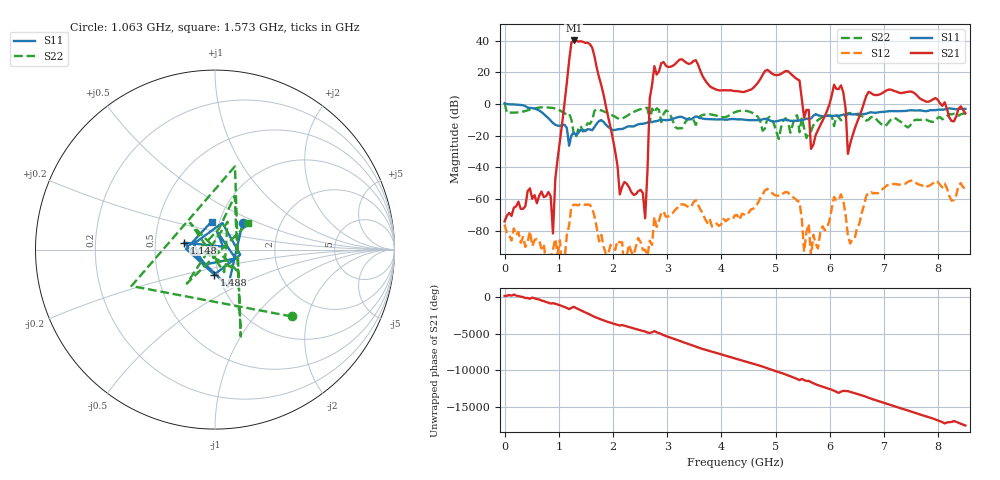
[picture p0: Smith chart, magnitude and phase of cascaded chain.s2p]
#  HZ  S  RI  R  50.00
! Rohde & Schwarz Vector Network Analyzer
! Rohde-Schwarz,ZNB8-4Port,REDACTED,3.12
! Created: UTC 3/23/2026, 9:02:08 PM
! ZX60-P162LN+ -> ZX75BP-1450-S+ -> ZX60-V63+
! freq[Hz]  re:S11  im:S11  re:S21  im:S21  re:S12  im:S12  re:S22  im:S22
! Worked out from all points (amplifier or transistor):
!   201 points, 10 kHz to 8.5 GHz, reference 50 ohm
!   highest |S21| = 40.2 dB at 1.275 GHz (marker M1)
!   |S21| within 3 dB of that: 1.226 GHz to 1.586 GHz (359.9 MHz wide, 25.6 % of centre)
!   unconditionally stable (mu >= 1): 29.18 MHz to end of sweep
!   at 1.403 GHz: K = 6.87, MAG = 40.0 dB, |S12| = -63.0 dB
!   at 4.25 GHz: K = 397.79, MAG = 10.2 dB, |S12| = -70.3 dB
!   at 8.5 GHz: K = 177.33, MAG = -1.7 dB, |S12| = -53.6 dB
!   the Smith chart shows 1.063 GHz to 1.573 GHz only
!   S11 on the Smith chart (normalised r, x): 1.063 GHz: 1.29, +0.40; 1.148 GHz: 0.70, +0.06; 1.488 GHz: 0.95, -0.27; 1.573 GHz: 0.92, +0.29
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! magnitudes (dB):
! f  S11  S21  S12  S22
! 10 kHz  0.5  -74.1  -76.3  0.4
! 467.5 MHz  -2.5  -53.3  -80.5  -3.5
! 850 MHz  -10.5  -58.3  -97.0  -2.4
! 892.5 MHz  -12.0  -81.8  -92.0  -2.5
! 1.063 GHz  -13.4  -12.0  -105.6  -4.9
! 1.148 GHz  -15.0  13.2  -83.1  -6.4
! 1.275 GHz  -18.1  40.2  -63.7  -18.5
! 1.445 GHz  -16.9  39.3  -63.1  -17.3
! 1.488 GHz  -17.1  38.6  -63.8  -15.4
! 1.573 GHz  -16.1  37.8  -63.7  -12.6
! 2.125 GHz  -15.8  -57.2  -87.5  -9.5
! 2.593 GHz  -12.2  -72.3  -92.1  -2.5
! 2.678 GHz  -11.0  3.4  -86.4  -11.6
! 2.848 GHz  -10.3  20.6  -73.9  -3.7
! 4.25 GHz  -9.6  8.1  -70.3  -5.2
! 5.228 GHz  -10.2  20.7  -55.9  -10.9
! 5.695 GHz  -7.4  -25.8  -82.6  -13.3
! 6.078 GHz  -7.4  12.2  -58.7  -14.0
! 6.248 GHz  -6.7  7.3  -61.0  -9.7
! 6.333 GHz  -6.5  -31.5  -83.3  -5.8
! 7.098 GHz  -4.5  9.2  -50.7  -10.9
! 8.5 GHz  -3.1  -6.0  -53.6  -5.9
